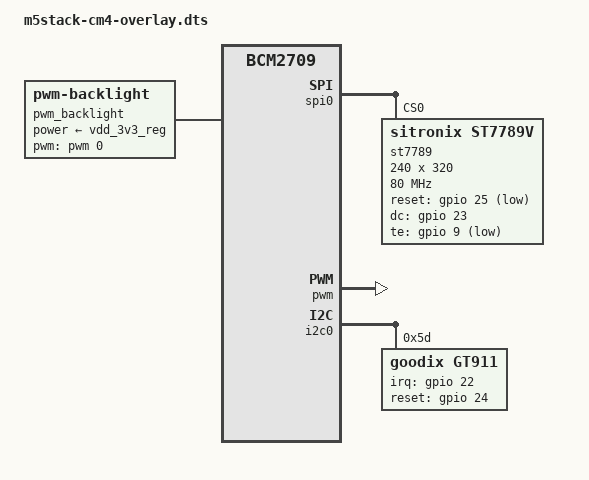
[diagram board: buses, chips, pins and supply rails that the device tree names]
// Device tree overlay for M5STACK CM4
// 
// https://github.com/raspberrypi/linux/blob/rpi-4.19.y/arch/arm/boot/dts/overlays/pwm-overlay.dts
/dts-v1/;
/plugin/;

/ {
        compatible = "brcm,bcm2835", "brcm,bcm2836", "brcm,bcm2708", "brcm,bcm2709";

        fragment@0 {
                target = <&gpio>;                           // Overlay for GPIO pins, using standard 'gpio' node
                __overlay__ {
                        goodix_pins: goodix_pins {          // create overlay labeled "goodix_pins"
                                brcm,pins = <22 24>;        // use GPIO_24(IRQ), GPIO_22(RESET)
                                brcm,function = <0 0>;      // INPUT
                                brcm,pull = <2 2>;          // enable internal pull-up resistors
                        };

                        st7789_pins: st7789_pins {          // create overlay labeled "st7789_pins"
                                brcm,pins = <23 25>;        // use GPIO_23(DC), GPIO_25(RESET)
                                brcm,function = <1>;        // OUT
				brcm,pull = <0>;
                        };

                        st7789_bl_pins: st7789_bl_pins {    // create overlay labeled "st7789_bl_pins"
                                brcm,pins = <12>;           // use GPIO_12(BL)
                                brcm,function = <4>;        // Alt0 PWM
                        };
                };
        };

        fragment@1 {
                target = <&spi0>;
                __overlay__ {
                        status = "okay";

                        spidev@0{
                                status = "disabled";
                        };

                        spidev@1{
                                status = "disabled";
                        };
                };
        };

        fragment@2 {
                target = <&pwm>;
                frag0: __overlay__ {
                        pinctrl-names = "default";
                        pinctrl-0 = <&st7789_bl_pins>;
                        assigned-clock-rates = <1000000>;
                        status = "okay";
                };
        };

        fragment@3 {
                target = <&i2c0>;                             // Overlay for I2C pins, using the 'i2c0' node
                __overlay__ {
                        #address-cells = <1>;
                        #size-cells = <0>;
                        status = "okay";                      // device is enabled

                        gt911: gt911@5d {                     // set GT911 with i2c address 0x5d
                                compatible = "goodix,gt911";  // using 'goodix' kernel device driver
                                reg = <0x5d>;                 // I2C address (needs to match above)
                                pinctrl-names = "default";    // default pin configuration
                                pinctrl-0 = <&goodix_pins>;   // assign overlay to pin control
                                interrupt-parent = <&gpio>;   // assign interrupt rutines
                                interrupts = <22 2>;          // high-to-low edge triggered
                                irq-gpios = <&gpio 22 0>;     // set Interupt pin on GPIO 22
                                reset-gpios = <&gpio 24 0>;   // set Reset pin on GPIO 24
                        };
                };
        };

        fragment@4 {
                target = <&spi0>;                                 // Overlay for I2C pins, using the 'i2c0' node
                __overlay__ {
                        #address-cells = <1>;
                        #size-cells = <0>;
                        status = "okay";                          // device is enabled

                        st7789: st7789@0 {
                                compatible = "sitronix,st7789v";  // using 'sitronix' kernel device driver
                                reg = <0>;
                                pinctrl-names = "default";        // default pin configuration
                                pinctrl-0 = <&st7789_pins>;       // assign overlay to pin control
                                
								spi-max-frequency = <80000000>;
								rotate = <0>;
								fps = <60>;
								buswidth = <8>;
								reset-gpios = <&gpio 25 1>;
								dc-gpios = <&gpio 23 0>;
								te-gpios = <&gpio 9 1>;
								debug = <5>;
								width = <240>;
								height = <320>;
								init = <
										0x100003A 0x05
										0x10000B2 0x05 0x05 0x00 0x33 0x33
										0x10000B7 0x75
										0x10000BB 0x22
										0x10000C0 0x2C
										0x10000C2 0x01 0xff
										0x10000C3 0x13
										0x10000C4 0x20
										0x10000C6 0x0F
										0x10000D0 0xA4 0xA1
										0x1000021
										0x1000011
										0x2000032
										0x1000029
										0x20000c8>;
								gamma = "D0,05,0A,09,08,05,2E,44,45,0F,17,16,2B,33;D0,05,0A,09,08,05,2E,43,45,0F,16,16,2B,33";
								};
									
							};
        };


        fragment@5 {
                target-path = "/";
                __overlay__ {
                        pwm_backlight: pwm_backlight {
                                compatible = "pwm-backlight";
                                // brightness-levels = <0 6 8 12 16 24 32 40 48 64 96 128 160 192 224 255>;
                                brightness-levels = <255 224 192 160 128 96 64 48 40 32 24 16 12 8 6 0>;
                                default-brightness-level = <6>;                                
                                pwms = <&pwm 0 2500000>;
                                #enable-gpios = <&gpio 12 0>;
                                power-supply = <&vdd_3v3_reg>;
                                status = "okay";                // device is enabled
                        };
                };
        };
};



// dtoverlay=disable-bt
// enable_uart=1
// dtoverlay=pcie-32bit-dma
// dtoverlay=i2c0,pins_44_45
// dtoverlay=i2c-rtc,i2c0,pcf8563
// dtoverlay=m5stack-cm4
// dtoverlay=max98357a,no-sdmode
